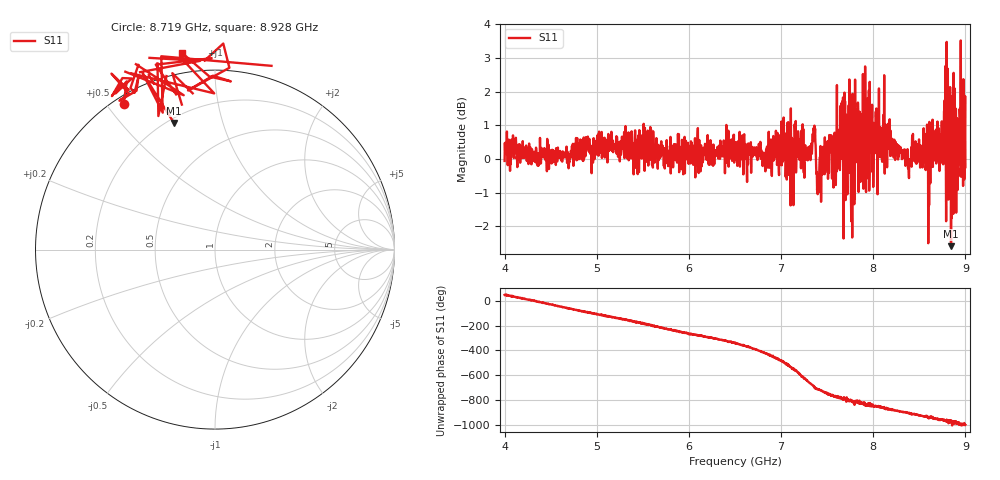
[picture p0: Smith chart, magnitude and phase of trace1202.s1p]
! Created with skrf 1.8.0 (http://scikit-rf.org).
# Hz S RI R 50.0
!freq ReS11 ImS11
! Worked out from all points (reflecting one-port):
!   1601 points, 4 GHz to 9 GHz, reference 50 ohm
!   lowest |S11| = -2.6 dB at 8.844 GHz (marker M1), VSWR 6.75, Z = 11.2 + j35.2 ohm
!   phase of S11 starts at 49 deg and turns -1052 deg over the sweep
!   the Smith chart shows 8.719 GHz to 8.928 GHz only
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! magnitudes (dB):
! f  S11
! 4 GHz  -0.1
! 4.625 GHz  -0.1
! 5.25 GHz  -0.1
! 5.875 GHz  0.3
! 6.5 GHz  0.3
! 7.125 GHz  0.2
! 7.172 GHz  0.2
! 7.269 GHz  0.1
! 7.35 GHz  0.6
! 7.409 GHz  -1.0
! 7.522 GHz  0.7
! 7.575 GHz  0.2
! 7.669 GHz  0.1
! 7.694 GHz  1.7
! 7.709 GHz  0.0
! 7.75 GHz  0.5
! 7.769 GHz  0.0
! 7.8 GHz  -1.2
! 7.928 GHz  1.1
! 7.944 GHz  1.7
! 8.375 GHz  0.0
! 8.444 GHz  0.1
! 8.612 GHz  -0.2
! 8.809 GHz  2.7
! 8.844 GHz  -2.6
! 8.919 GHz  -0.3
! 8.959 GHz  2.4
! 9 GHz  -0.2
